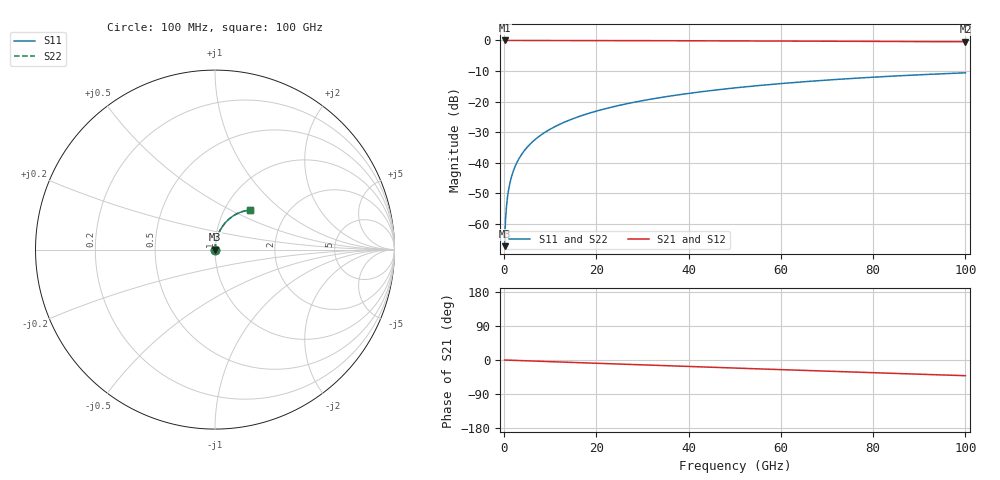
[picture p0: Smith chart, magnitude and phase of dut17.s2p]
! Touchstone file exported from HFSS 2026.1.0
!  File:  C:/ffzhzh/LocalFiles/Ansys_Project_Files/temp_train_TSV_17_1783504340_9504.aedt
!  Generated:  05:53:54 PM Jul  8, 2026
!  Design:  TSV
!  Project:  temp_train_TSV_17_1783504340_9504
! Variables:
!  h_bsmrdl = 2um
!  h_ox = 20um
!  h_rdl = 5um
!  h_sub = 69.65um
!  h_tmrdl = 5um
!  h_tsv = 69.65um
!  h_via = 3um
!  l_bsmrdl = 300um
!  l_sub = 414.22um
!  l_tmrdl = 200um
!  m_sub = 200um
!  pitch = 57.21um
!  r_tsv = 7.11um
!  s_tmrdl = 10um
!  w_bsmrdl = 18um
!  w_sub = 500um
!  w_tmrdl = 12um
!  x_tsv_center1 = 206um
!  x_tsv_center2 = 524um
!  x_tsv_center3 = 736um
!  x_tsv_center4 = 1054um
!  x_tsv_center5 = 1266um
!  x_tsv_center6 = 1584um
# GHz S MA R 50.000000
! Terminal data exported
! Port[1] = TSV1_1_T1
! Port[2] = TSV1_1_T2
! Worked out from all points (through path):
!   1000 points, 100 MHz to 100 GHz, reference 50 ohm
!   highest |S21| = 0.00 dB at 100 MHz (marker M1); lowest = -0.4 dB at 100 GHz (marker M2)
!   group delay of S21, straight-line fit = 1.15 ps
!   lowest |S11| = -67.2 dB at 100 MHz (marker M3), VSWR 1.00, Z = 50 + j0.039 ohm
!   |S11| at or under -10 dB: start of sweep to end of sweep
!   |S22| runs from -67.2 to -10.6 dB; largest |S21 - S12| = 3e-15
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0.1  0.0004341 63.8  0.9998 -0.0  0.9998 -0.0  0.0004341 63.8
! Gamma 0 0 0 0
! Port Impedance 50 0 50 0
0.3  0.001173 79.2  0.9998 -0.1  0.9998 -0.1  0.001173 79.2
0.7  0.002651 83.9  0.9997 -0.3  0.9997 -0.3  0.002651 83.9
0.8  0.003019 84.3  0.9997 -0.4  0.9997 -0.4  0.003019 84.3
1  0.003752 84.9  0.9997 -0.4  0.9997 -0.4  0.003752 84.9
1.3  0.004848 85.4  0.9996 -0.6  0.9996 -0.6  0.004848 85.4
1.7  0.006299 85.7  0.9996 -0.8  0.9996 -0.8  0.006299 85.7
2.3  0.008456 85.8  0.9995 -1.0  0.9995 -1.0  0.008456 85.8
3  0.01095 85.8  0.9994 -1.3  0.9994 -1.3  0.01095 85.8
3.8  0.01378 85.8  0.9993 -1.7  0.9993 -1.7  0.01378 85.8
4.8  0.0173 85.6  0.9992 -2.1  0.9992 -2.1  0.0173 85.6
6  0.02152 85.3  0.999 -2.6  0.999 -2.6  0.02152 85.3
8.8  0.03133 84.5  0.9986 -3.8  0.9986 -3.8  0.03133 84.5
12.4  0.04387 83.2  0.9979 -5.4  0.9979 -5.4  0.04387 83.2
16.8  0.05907 81.5  0.997 -7.3  0.997 -7.3  0.05907 81.5
24.2  0.08431 78.5  0.9949 -10.4  0.9949 -10.4  0.08431 78.5
33.4  0.115 74.8  0.9915 -14.3  0.9915 -14.3  0.115 74.8
41.2  0.1402 71.6  0.9881 -17.6  0.9881 -17.6  0.1402 71.6
50.1  0.1679 67.9  0.9836 -21.3  0.9836 -21.3  0.1679 67.9
66.7  0.2161 61.2  0.9739 -28.2  0.9739 -28.2  0.2161 61.2
83.4  0.2592 54.6  0.9631 -34.9  0.9631 -34.9  0.2592 54.6
100  0.2959 48.1  0.9522 -41.4  0.9522 -41.4  0.2959 48.1
